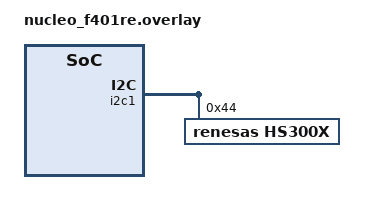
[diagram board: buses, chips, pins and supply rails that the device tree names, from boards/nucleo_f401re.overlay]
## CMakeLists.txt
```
# Copyright (c) 2023 Ian Morris
# SPDX-License-Identifier: Apache-2.0

cmake_minimum_required(VERSION 3.20.0)
find_package(Zephyr REQUIRED HINTS $ENV{ZEPHYR_BASE})
project(dht_polling)

FILE(GLOB app_sources src/*.c)
target_sources(app PRIVATE ${app_sources})
```

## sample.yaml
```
#
# Copyright (c) 2023 Ian Morris
#
# SPDX-License-Identifier: Apache-2.0
#

sample:
  description: Digital Humidity Temperature polling sample
  name: DHT polling sample
tests:
  sample.sensor.dht_polling:
    tags: sensors
    filter: dt_alias_exists("dht0")
    integration_platforms:
      - nucleo_f401re
    harness: console
    harness_config:
      fixture: fixture_i2c_hs300x
      type: one_line
      regex:
        - "[0-9A-Za-z_,+-.]*@[0-9A-Fa-f]*: temp is (.*) °C humidity is (.*) %RH"
```

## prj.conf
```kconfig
CONFIG_STDOUT_CONSOLE=y
CONFIG_SENSOR=y
CONFIG_SENSOR_ASYNC_API=y
```

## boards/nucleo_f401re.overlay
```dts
/*
 * Copyright (c) 2023 Ian Morris
 *
 * SPDX-License-Identifier: Apache-2.0
 */

/ {
	aliases {
		dht0 = &hs300x;
	};
};

 &i2c1 {
	status = "okay";

	hs300x: hs300x@44 {
		compatible = "renesas,hs300x";
		reg = <0x44>;
		#address-cells = <1>;
		#size-cells = <0>;
	};
};
```

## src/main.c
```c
/*
 * Copyright (c) 2023 Ian Morris
 *
 * SPDX-License-Identifier: Apache-2.0
 */

#include <stdio.h>
#include <stdlib.h>

#include <zephyr/device.h>
#include <zephyr/sys/util_macro.h>
#include <zephyr/kernel.h>
#include <zephyr/drivers/sensor.h>
#include <zephyr/drivers/sensor_data_types.h>
#include <zephyr/rtio/rtio.h>
#include <zephyr/dsp/print_format.h>

#define DHT_ALIAS(i) DT_ALIAS(_CONCAT(dht, i))
#define DHT_DEVICE(i, _)                                                      \
	IF_ENABLED(DT_NODE_EXISTS(DHT_ALIAS(i)), (DEVICE_DT_GET(DHT_ALIAS(i)),))

/* Support up to 10 temperature/humidity sensors */
static const struct device *const sensors[] = {LISTIFY(10, DHT_DEVICE, ())};

#define DHT_IODEV(i, _)                                                      \
	IF_ENABLED(DT_NODE_EXISTS(DHT_ALIAS(i)),                                 \
		(SENSOR_DT_READ_IODEV(_CONCAT(dht_iodev, i), DHT_ALIAS(i),           \
		{SENSOR_CHAN_AMBIENT_TEMP, 0},                                       \
		{SENSOR_CHAN_HUMIDITY, 0})))

LISTIFY(10, DHT_IODEV, (;));

#define DHT_IODEV_REF(i, _)                                                   \
	COND_CODE_1(DT_NODE_EXISTS(DHT_ALIAS(i)), (CONCAT(&dht_iodev, i)), (NULL))

static struct rtio_iodev *dht_iodev[] = { LISTIFY(10, DHT_IODEV_REF, (,)) };

RTIO_DEFINE(dht_ctx, 1, 1);

int main(void)
{
	int rc;

	for (size_t i = 0; i < ARRAY_SIZE(sensors); i++) {
		if (!device_is_ready(sensors[i])) {
			printk("sensor: device %s not ready.\n", sensors[i]->name);
			return 0;
		}
	}

	while (1) {
		for (size_t i = 0; i < ARRAY_SIZE(sensors); i++) {
			struct device *dev = (struct device *) sensors[i];

			uint8_t buf[128];

			rc = sensor_read(dht_iodev[i], &dht_ctx, buf, 128);

			if (rc != 0) {
				printk("%s: sensor_read() failed: %d\n", dev->name, rc);
				return rc;
			}

			const struct sensor_decoder_api *decoder;

			rc = sensor_get_decoder(dev, &decoder);

			if (rc != 0) {
				printk("%s: sensor_get_decode() failed: %d\n", dev->name, rc);
				return rc;
			}

			uint32_t temp_fit = 0;
			struct sensor_q31_data temp_data = {0};

			decoder->decode(buf,
					(struct sensor_chan_spec) {SENSOR_CHAN_AMBIENT_TEMP, 0},
					&temp_fit, 1, &temp_data);

			uint32_t hum_fit = 0;
			struct sensor_q31_data hum_data = {0};

			decoder->decode(buf,
					(struct sensor_chan_spec) {SENSOR_CHAN_HUMIDITY, 0},
					&hum_fit, 1, &hum_data);

			printk("%16s: temp is %s%d.%d °C humidity is %s%d.%d RH\n", dev->name,
				PRIq_arg(temp_data.readings[0].temperature, 2, temp_data.shift),
				PRIq_arg(hum_data.readings[0].humidity, 2, hum_data.shift));
		}
		k_msleep(1000);
	}
	return 0;
}
```
